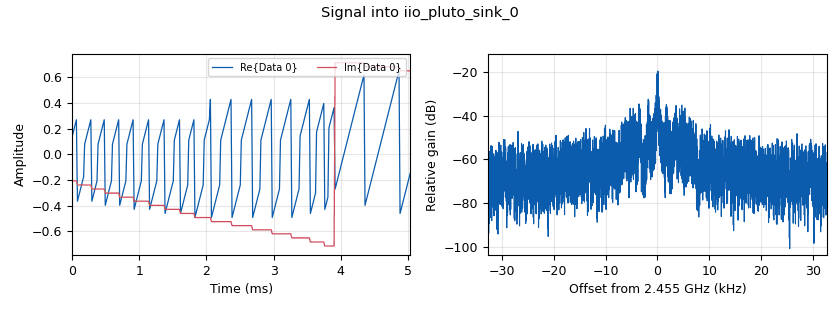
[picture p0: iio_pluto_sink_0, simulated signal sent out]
options:
  parameters:
    author: ivy
    generate_options: qt_gui
    generator_class_name: PythonQtGuiGenerator
    generator_module: gnuradio.grc.workflows.python_qt_gui
    id: untitled
    output_language: python
    title: Not titled yet
  states: {}

blocks:
- name: pi
  id: variable
  parameters:
    value: |
      [(-0.2698412698412699+0.7142857142857143j), (-0.23809523809523814+0.7142857142857143j), (-0.2063492063492064+0.7142857142857143j), (-0.17460317460317465+0.7142857142857143j), (-0.1428571428571429+0.7142857142857143j), (-0.11111111111111116+0.7142857142857143j), (-0.07936507936507942+0.7142857142857143j), (-0.04761904761904767+0.7142857142857143j), (-0.015873015873015928+0.7142857142857143j), (0.015873015873015817+0.7142857142857143j), (0.04761904761904767+0.7142857142857143j), (0.0793650793650793+0.7142857142857143j), (0.11111111111111116+0.7142857142857143j), (0.1428571428571428+0.7142857142857143j), (0.17460317460317465+0.7142857142857143j), (0.20634920634920628+0.7142857142857143j), (0.23809523809523814+0.7142857142857143j), (0.26984126984126977+0.7142857142857143j), (0.3015873015873016+0.7142857142857143j), (0.33333333333333326+0.7142857142857143j), (0.3650793650793651+0.7142857142857143j), (0.39682539682539675+0.7142857142857143j), (0.4285714285714286+0.7142857142857143j), (0.46031746031746024+0.7142857142857143j), (0.4920634920634921+0.7142857142857143j), (0.5238095238095237+0.7142857142857143j), (0.5555555555555556+0.7142857142857143j), (0.5873015873015872+0.7142857142857143j), (0.6190476190476191+0.7142857142857143j), (-0.39682539682539686+0.6825396825396826j), (-0.3650793650793651+0.6825396825396826j), (-0.33333333333333337+0.6825396825396826j), (-0.3015873015873016+0.6825396825396826j), (-0.2698412698412699+0.6825396825396826j), (-0.23809523809523814+0.6825396825396826j), (-0.2063492063492064+0.6825396825396826j), (-0.17460317460317465+0.6825396825396826j), (-0.1428571428571429+0.6825396825396826j), (-0.11111111111111116+0.6825396825396826j), (-0.07936507936507942+0.6825396825396826j), (-0.04761904761904767+0.6825396825396826j), (-0.015873015873015928+0.6825396825396826j), (0.015873015873015817+0.6825396825396826j), (0.04761904761904767+0.6825396825396826j), (0.0793650793650793+0.6825396825396826j), (0.11111111111111116+0.6825396825396826j), (0.1428571428571428+0.6825396825396826j), (0.17460317460317465+0.6825396825396826j), (0.20634920634920628+0.6825396825396826j), (0.23809523809523814+0.6825396825396826j), (0.26984126984126977+0.6825396825396826j), (0.3015873015873016+0.6825396825396826j), (0.33333333333333326+0.6825396825396826j), (0.3650793650793651+0.6825396825396826j), (0.39682539682539675+0.6825396825396826j), (0.4285714285714286+0.6825396825396826j), (0.46031746031746024+0.6825396825396826j), (0.4920634920634921+0.6825396825396826j), (0.5238095238095237+0.6825396825396826j), (0.5555555555555556+0.6825396825396826j), (0.5873015873015872+0.6825396825396826j), (0.6190476190476191+0.6825396825396826j), (0.6507936507936507+0.6825396825396826j), (-0.46031746031746035+0.6507936507936508j), (-0.4285714285714286+0.6507936507936508j), (-0.39682539682539686+0.6507936507936508j), (-0.3650793650793651+0.6507936507936508j), (-0.33333333333333337+0.6507936507936508j), (-0.3015873015873016+0.6507936507936508j), (-0.2698412698412699+0.6507936507936508j), (-0.23809523809523814+0.6507936507936508j), (-0.2063492063492064+0.6507936507936508j), (-0.17460317460317465+0.6507936507936508j), (-0.1428571428571429+0.6507936507936508j), (-0.11111111111111116+0.6507936507936508j), (-0.07936507936507942+0.6507936507936508j), (-0.04761904761904767+0.6507936507936508j), (-0.015873015873015928+0.6507936507936508j), (0.015873015873015817+0.6507936507936508j), (0.04761904761904767+0.6507936507936508j), (0.0793650793650793+0.6507936507936508j), (0.11111111111111116+0.6507936507936508j), (0.1428571428571428+0.6507936507936508j), (0.17460317460317465+0.6507936507936508j), (0.20634920634920628+0.6507936507936508j), (0.23809523809523814+0.6507936507936508j), (0.26984126984126977+0.6507936507936508j), (0.3015873015873016+0.6507936507936508j), (0.33333333333333326+0.6507936507936508j), (0.3650793650793651+0.6507936507936508j), (0.39682539682539675+0.6507936507936508j), (0.4285714285714286+0.6507936507936508j), (0.46031746031746024+0.6507936507936508j), (0.4920634920634921+0.6507936507936508j), (0.5238095238095237+0.6507936507936508j), (0.5555555555555556+0.6507936507936508j), (0.5873015873015872+0.6507936507936508j), (0.6190476190476191+0.6507936507936508j), (0.6507936507936507+0.6507936507936508j), (-0.4920634920634921+0.6190476190476191j), (-0.46031746031746035+0.6190476190476191j), (-0.4285714285714286+0.6190476190476191j), (-0.39682539682539686+0.6190476190476191j), (-0.3650793650793651+0.6190476190476191j), (-0.33333333333333337+0.6190476190476191j), (-0.3015873015873016+0.6190476190476191j), (-0.2698412698412699+0.6190476190476191j), (-0.23809523809523814+0.6190476190476191j), (-0.2063492063492064+0.6190476190476191j), (-0.17460317460317465+0.6190476190476191j), (-0.1428571428571429+0.6190476190476191j), (-0.11111111111111116+0.6190476190476191j), (-0.07936507936507942+0.6190476190476191j), (-0.04761904761904767+0.6190476190476191j), (-0.015873015873015928+0.6190476190476191j), (0.015873015873015817+0.6190476190476191j), (0.04761904761904767+0.6190476190476191j), (0.0793650793650793+0.6190476190476191j), (0.11111111111111116+0.6190476190476191j), (0.1428571428571428+0.6190476190476191j), (0.17460317460317465+0.6190476190476191j), (0.20634920634920628+0.6190476190476191j), (0.23809523809523814+0.6190476190476191j), (0.26984126984126977+0.6190476190476191j), (0.3015873015873016+0.6190476190476191j), (0.33333333333333326+0.6190476190476191j), (0.3650793650793651+0.6190476190476191j), (0.39682539682539675+0.6190476190476191j), (0.4285714285714286+0.6190476190476191j), (0.46031746031746024+0.6190476190476191j), (0.4920634920634921+0.6190476190476191j), (0.5238095238095237+0.6190476190476191j), (0.5555555555555556+0.6190476190476191j), (0.5873015873015872+0.6190476190476191j), (0.6190476190476191+0.6190476190476191j), (0.6507936507936507+0.6190476190476191j), (-0.5555555555555556+0.5873015873015873j), (-0.5238095238095238+0.5873015873015873j), (-0.4920634920634921+0.5873015873015873j), (-0.46031746031746035+0.5873015873015873j), (-0.4285714285714286+0.5873015873015873j), (-0.39682539682539686+0.5873015873015873j), (-0.3650793650793651+0.5873015873015873j), (-0.33333333333333337+0.5873015873015873j), (-0.3015873015873016+0.5873015873015873j), (-0.2698412698412699+0.5873015873015873j), (-0.23809523809523814+0.5873015873015873j), (-0.2063492063492064+0.5873015873015873j), (-0.17460317460317465+0.5873015873015873j), (-0.1428571428571429+0.5873015873015873j), (-0.11111111111111116+0.5873015873015873j), (-0.07936507936507942+0.5873015873015873j), (-0.04761904761904767+0.5873015873015873j), (-0.015873015873015928+0.5873015873015873j), (0.015873015873015817+0.5873015873015873j), (0.04761904761904767+0.5873015873015873j), (0.0793650793650793+0.5873015873015873j), (0.11111111111111116+0.5873015873015873j), (0.1428571428571428+0.5873015873015873j), (0.17460317460317465+0.5873015873015873j), (0.20634920634920628+0.5873015873015873j), (0.23809523809523814+0.5873015873015873j), (0.26984126984126977+0.5873015873015873j), (0.3015873015873016+0.5873015873015873j), (0.33333333333333326+0.5873015873015873j), (0.3650793650793651+0.5873015873015873j), (0.39682539682539675+0.5873015873015873j), (0.4285714285714286+0.5873015873015873j), (0.46031746031746024+0.5873015873015873j), (0.4920634920634921+0.5873015873015873j), (0.5238095238095237+0.5873015873015873j), (0.5555555555555556+0.5873015873015873j), (0.5873015873015872+0.5873015873015873j), (0.6190476190476191+0.5873015873015873j), (-0.5873015873015873+0.5555555555555556j), (-0.5555555555555556+0.5555555555555556j), (-0.5238095238095238+0.5555555555555556j), (-0.4920634920634921+0.5555555555555556j), (-0.46031746031746035+0.5555555555555556j), (-0.4285714285714286+0.5555555555555556j), (-0.39682539682539686+0.5555555555555556j), (-0.3650793650793651+0.5555555555555556j), (-0.33333333333333337+0.5555555555555556j), (-0.3015873015873016+0.5555555555555556j), (-0.2698412698412699+0.5555555555555556j), (-0.23809523809523814+0.5555555555555556j), (-0.2063492063492064+0.5555555555555556j), (-0.17460317460317465+0.5555555555555556j), (-0.1428571428571429+0.5555555555555556j), (-0.11111111111111116+0.5555555555555556j), (-0.07936507936507942+0.5555555555555556j), (-0.04761904761904767+0.5555555555555556j), (-0.015873015873015928+0.5555555555555556j), (0.015873015873015817+0.5555555555555556j), (0.04761904761904767+0.5555555555555556j), (0.0793650793650793+0.5555555555555556j), (0.11111111111111116+0.5555555555555556j), (0.1428571428571428+0.5555555555555556j), (0.17460317460317465+0.5555555555555556j), (0.20634920634920628+0.5555555555555556j), (0.23809523809523814+0.5555555555555556j), (0.26984126984126977+0.5555555555555556j), (0.3015873015873016+0.5555555555555556j), (0.33333333333333326+0.5555555555555556j), (0.3650793650793651+0.5555555555555556j), (0.39682539682539675+0.5555555555555556j), (0.4285714285714286+0.5555555555555556j), (0.46031746031746024+0.5555555555555556j), (0.4920634920634921+0.5555555555555556j), (0.5238095238095237+0.5555555555555556j), (0.5555555555555556+0.5555555555555556j), (0.5873015873015872+0.5555555555555556j), (0.6190476190476191+0.5555555555555556j), (-0.5873015873015873+0.5238095238095238j), (-0.5555555555555556+0.5238095238095238j), (-0.5238095238095238+0.5238095238095238j), (-0.4920634920634921+0.5238095238095238j), (-0.46031746031746035+0.5238095238095238j), (-0.4285714285714286+0.5238095238095238j), (-0.39682539682539686+0.5238095238095238j), (-0.3650793650793651+0.5238095238095238j), (-0.33333333333333337+0.5238095238095238j), (-0.3015873015873016+0.5238095238095238j), (-0.2698412698412699+0.5238095238095238j), (-0.23809523809523814+0.5238095238095238j), (-0.2063492063492064+0.5238095238095238j), (-0.17460317460317465+0.5238095238095238j), (-0.1428571428571429+0.5238095238095238j), (-0.11111111111111116+0.5238095238095238j), (-0.07936507936507942+0.5238095238095238j), (-0.04761904761904767+0.5238095238095238j), (-0.015873015873015928+0.5238095238095238j), (0.015873015873015817+0.5238095238095238j), (0.04761904761904767+0.5238095238095238j), (0.0793650793650793+0.5238095238095238j), (0.11111111111111116+0.5238095238095238j), (0.1428571428571428+0.5238095238095238j), (0.17460317460317465+0.5238095238095238j), (0.20634920634920628+0.5238095238095238j), (0.23809523809523814+0.5238095238095238j), (0.26984126984126977+0.5238095238095238j), (0.3015873015873016+0.5238095238095238j), (0.33333333333333326+0.5238095238095238j), (0.3650793650793651+0.5238095238095238j), (0.39682539682539675+0.5238095238095238j), (0.4285714285714286+0.5238095238095238j), (0.46031746031746024+0.5238095238095238j), (0.4920634920634921+0.5238095238095238j), (0.5238095238095237+0.5238095238095238j), (0.5555555555555556+0.5238095238095238j), (-0.6190476190476191+0.4920634920634921j), (-0.5873015873015873+0.4920634920634921j), (-0.5555555555555556+0.4920634920634921j), (-0.5238095238095238+0.4920634920634921j), (-0.4920634920634921+0.4920634920634921j), (-0.46031746031746035+0.4920634920634921j), (-0.4285714285714286+0.4920634920634921j), (-0.23809523809523814+0.4920634920634921j), (-0.2063492063492064+0.4920634920634921j), (-0.17460317460317465+0.4920634920634921j), (-0.1428571428571429+0.4920634920634921j), (-0.11111111111111116+0.4920634920634921j), (0.1428571428571428+0.4920634920634921j), (0.17460317460317465+0.4920634920634921j), (0.20634920634920628+0.4920634920634921j), (0.23809523809523814+0.4920634920634921j), (0.26984126984126977+0.4920634920634921j), (0.3015873015873016+0.4920634920634921j), (-0.6190476190476191+0.46031746031746035j), (-0.5873015873015873+0.46031746031746035j), (-0.5555555555555556+0.46031746031746035j), (-0.5238095238095238+0.46031746031746035j), (-0.4920634920634921+0.46031746031746035j), (-0.23809523809523814+0.46031746031746035j), (-0.2063492063492064+0.46031746031746035j), (-0.17460317460317465+0.46031746031746035j), (-0.1428571428571429+0.46031746031746035j), (0.1428571428571428+0.46031746031746035j), (0.17460317460317465+0.46031746031746035j), (0.20634920634920628+0.46031746031746035j), (0.23809523809523814+0.46031746031746035j), (0.26984126984126977+0.46031746031746035j), (0.3015873015873016+0.46031746031746035j), (-0.6507936507936508+0.4285714285714286j), (-0.6190476190476191+0.4285714285714286j), (-0.5873015873015873+0.4285714285714286j), (-0.5555555555555556+0.4285714285714286j), (-0.23809523809523814+0.4285714285714286j), (-0.2063492063492064+0.4285714285714286j), (-0.17460317460317465+0.4285714285714286j), (-0.1428571428571429+0.4285714285714286j), (0.1428571428571428+0.4285714285714286j), (0.17460317460317465+0.4285714285714286j), (0.20634920634920628+0.4285714285714286j), (0.23809523809523814+0.4285714285714286j), (0.26984126984126977+0.4285714285714286j), (0.3015873015873016+0.4285714285714286j), (-0.6507936507936508+0.39682539682539686j), (-0.6190476190476191+0.39682539682539686j), (-0.5873015873015873+0.39682539682539686j), (-0.23809523809523814+0.39682539682539686j), (-0.2063492063492064+0.39682539682539686j), (-0.17460317460317465+0.39682539682539686j), (-0.1428571428571429+0.39682539682539686j), (0.1428571428571428+0.39682539682539686j), (0.17460317460317465+0.39682539682539686j), (0.20634920634920628+0.39682539682539686j), (0.23809523809523814+0.39682539682539686j), (0.26984126984126977+0.39682539682539686j), (0.3015873015873016+0.39682539682539686j), (-0.6507936507936508+0.3650793650793651j), (-0.6190476190476191+0.3650793650793651j), (-0.5873015873015873+0.3650793650793651j), (-0.23809523809523814+0.3650793650793651j), (-0.2063492063492064+0.3650793650793651j), (-0.17460317460317465+0.3650793650793651j), (-0.1428571428571429+0.3650793650793651j), (0.1428571428571428+0.3650793650793651j), (0.17460317460317465+0.3650793650793651j), (0.20634920634920628+0.3650793650793651j), (0.23809523809523814+0.3650793650793651j), (0.26984126984126977+0.3650793650793651j), (0.3015873015873016+0.3650793650793651j), (-0.6190476190476191+0.33333333333333337j), (-0.23809523809523814+0.33333333333333337j), (-0.2063492063492064+0.33333333333333337j), (-0.17460317460317465+0.33333333333333337j), (-0.1428571428571429+0.33333333333333337j), (0.1428571428571428+0.33333333333333337j), (0.17460317460317465+0.33333333333333337j), (0.20634920634920628+0.33333333333333337j), (0.23809523809523814+0.33333333333333337j), (0.26984126984126977+0.33333333333333337j), (0.3015873015873016+0.33333333333333337j), (-0.6190476190476191+0.3015873015873016j), (-0.23809523809523814+0.3015873015873016j), (-0.2063492063492064+0.3015873015873016j), (-0.17460317460317465+0.3015873015873016j), (-0.1428571428571429+0.3015873015873016j), (0.1428571428571428+0.3015873015873016j), (0.17460317460317465+0.3015873015873016j), (0.20634920634920628+0.3015873015873016j), (0.23809523809523814+0.3015873015873016j), (0.26984126984126977+0.3015873015873016j), (0.3015873015873016+0.3015873015873016j), (-0.23809523809523814+0.2698412698412699j), (-0.2063492063492064+0.2698412698412699j), (-0.17460317460317465+0.2698412698412699j), (-0.1428571428571429+0.2698412698412699j), (0.1428571428571428+0.2698412698412699j), (0.17460317460317465+0.2698412698412699j), (0.20634920634920628+0.2698412698412699j), (0.23809523809523814+0.2698412698412699j), (0.26984126984126977+0.2698412698412699j), (-0.23809523809523814+0.23809523809523814j), (-0.2063492063492064+0.23809523809523814j), (-0.17460317460317465+0.23809523809523814j), (-0.1428571428571429+0.23809523809523814j), (0.1428571428571428+0.23809523809523814j), (0.17460317460317465+0.23809523809523814j), (0.20634920634920628+0.23809523809523814j), (0.23809523809523814+0.23809523809523814j), (0.26984126984126977+0.23809523809523814j), (-0.23809523809523814+0.2063492063492064j), (-0.2063492063492064+0.2063492063492064j), (-0.17460317460317465+0.2063492063492064j), (-0.1428571428571429+0.2063492063492064j), (0.11111111111111116+0.2063492063492064j), (0.1428571428571428+0.2063492063492064j), (0.17460317460317465+0.2063492063492064j), (0.20634920634920628+0.2063492063492064j), (0.23809523809523814+0.2063492063492064j), (0.26984126984126977+0.2063492063492064j), (-0.23809523809523814+0.17460317460317465j), (-0.2063492063492064+0.17460317460317465j), (-0.17460317460317465+0.17460317460317465j), (-0.1428571428571429+0.17460317460317465j), (0.11111111111111116+0.17460317460317465j), (0.1428571428571428+0.17460317460317465j), (0.17460317460317465+0.17460317460317465j), (0.20634920634920628+0.17460317460317465j), (0.23809523809523814+0.17460317460317465j), (0.26984126984126977+0.17460317460317465j), (-0.2698412698412699+0.1428571428571429j), (-0.23809523809523814+0.1428571428571429j), (-0.2063492063492064+0.1428571428571429j), (-0.17460317460317465+0.1428571428571429j), (-0.1428571428571429+0.1428571428571429j), (0.11111111111111116+0.1428571428571429j), (0.1428571428571428+0.1428571428571429j), (0.17460317460317465+0.1428571428571429j), (0.20634920634920628+0.1428571428571429j), (0.23809523809523814+0.1428571428571429j), (0.26984126984126977+0.1428571428571429j), (-0.2698412698412699+0.11111111111111116j), (-0.23809523809523814+0.11111111111111116j), (-0.2063492063492064+0.11111111111111116j), (-0.17460317460317465+0.11111111111111116j), (-0.1428571428571429+0.11111111111111116j), (0.11111111111111116+0.11111111111111116j), (0.1428571428571428+0.11111111111111116j), (0.17460317460317465+0.11111111111111116j), (0.20634920634920628+0.11111111111111116j), (0.23809523809523814+0.11111111111111116j), (0.26984126984126977+0.11111111111111116j), (-0.2698412698412699+0.07936507936507942j), (-0.23809523809523814+0.07936507936507942j), (-0.2063492063492064+0.07936507936507942j), (-0.17460317460317465+0.07936507936507942j), (-0.1428571428571429+0.07936507936507942j), (0.11111111111111116+0.07936507936507942j), (0.1428571428571428+0.07936507936507942j), (0.17460317460317465+0.07936507936507942j), (0.20634920634920628+0.07936507936507942j), (0.23809523809523814+0.07936507936507942j), (0.26984126984126977+0.07936507936507942j), (-0.2698412698412699+0.04761904761904767j), (-0.23809523809523814+0.04761904761904767j), (-0.2063492063492064+0.04761904761904767j), (-0.17460317460317465+0.04761904761904767j), (0.11111111111111116+0.04761904761904767j), (0.1428571428571428+0.04761904761904767j), (0.17460317460317465+0.04761904761904767j), (0.20634920634920628+0.04761904761904767j), (0.23809523809523814+0.04761904761904767j), (0.26984126984126977+0.04761904761904767j), (-0.2698412698412699+0.015873015873015928j), (-0.23809523809523814+0.015873015873015928j), (-0.2063492063492064+0.015873015873015928j), (-0.17460317460317465+0.015873015873015928j), (0.11111111111111116+0.015873015873015928j), (0.1428571428571428+0.015873015873015928j), (0.17460317460317465+0.015873015873015928j), (0.20634920634920628+0.015873015873015928j), (0.23809523809523814+0.015873015873015928j), (0.26984126984126977+0.015873015873015928j), (-0.3015873015873016-0.015873015873015817j), (-0.2698412698412699-0.015873015873015817j), (-0.23809523809523814-0.015873015873015817j), (-0.2063492063492064-0.015873015873015817j), (-0.17460317460317465-0.015873015873015817j), (0.11111111111111116-0.015873015873015817j), (0.1428571428571428-0.015873015873015817j), (0.17460317460317465-0.015873015873015817j), (0.20634920634920628-0.015873015873015817j), (0.23809523809523814-0.015873015873015817j), (0.26984126984126977-0.015873015873015817j), (-0.3015873015873016-0.04761904761904767j), (-0.2698412698412699-0.04761904761904767j), (-0.23809523809523814-0.04761904761904767j), (-0.2063492063492064-0.04761904761904767j), (-0.17460317460317465-0.04761904761904767j), (0.11111111111111116-0.04761904761904767j), (0.1428571428571428-0.04761904761904767j), (0.17460317460317465-0.04761904761904767j), (0.20634920634920628-0.04761904761904767j), (0.23809523809523814-0.04761904761904767j), (0.26984126984126977-0.04761904761904767j), (-0.3015873015873016-0.0793650793650793j), (-0.2698412698412699-0.0793650793650793j), (-0.23809523809523814-0.0793650793650793j), (-0.2063492063492064-0.0793650793650793j), (-0.17460317460317465-0.0793650793650793j), (0.11111111111111116-0.0793650793650793j), (0.1428571428571428-0.0793650793650793j), (0.17460317460317465-0.0793650793650793j), (0.20634920634920628-0.0793650793650793j), (0.23809523809523814-0.0793650793650793j), (0.26984126984126977-0.0793650793650793j), (-0.3015873015873016-0.11111111111111116j), (-0.2698412698412699-0.11111111111111116j), (-0.23809523809523814-0.11111111111111116j), (-0.2063492063492064-0.11111111111111116j), (-0.17460317460317465-0.11111111111111116j), (0.11111111111111116-0.11111111111111116j), (0.1428571428571428-0.11111111111111116j), (0.17460317460317465-0.11111111111111116j), (0.20634920634920628-0.11111111111111116j), (0.23809523809523814-0.11111111111111116j), (0.26984126984126977-0.11111111111111116j), (-0.33333333333333337-0.1428571428571428j), (-0.3015873015873016-0.1428571428571428j), (-0.2698412698412699-0.1428571428571428j), (-0.23809523809523814-0.1428571428571428j), (-0.2063492063492064-0.1428571428571428j), (-0.17460317460317465-0.1428571428571428j), (0.11111111111111116-0.1428571428571428j), (0.1428571428571428-0.1428571428571428j), (0.17460317460317465-0.1428571428571428j), (0.20634920634920628-0.1428571428571428j), (0.23809523809523814-0.1428571428571428j), (0.26984126984126977-0.1428571428571428j), (-0.33333333333333337-0.17460317460317465j), (-0.3015873015873016-0.17460317460317465j), (-0.2698412698412699-0.17460317460317465j), (-0.23809523809523814-0.17460317460317465j), (-0.2063492063492064-0.17460317460317465j), (-0.17460317460317465-0.17460317460317465j), (0.11111111111111116-0.17460317460317465j), (0.1428571428571428-0.17460317460317465j), (0.17460317460317465-0.17460317460317465j), (0.20634920634920628-0.17460317460317465j), (0.23809523809523814-0.17460317460317465j), (0.26984126984126977-0.17460317460317465j), (-0.33333333333333337-0.20634920634920628j), (-0.3015873015873016-0.20634920634920628j), (-0.2698412698412699-0.20634920634920628j), (-0.23809523809523814-0.20634920634920628j), (-0.2063492063492064-0.20634920634920628j), (-0.17460317460317465-0.20634920634920628j), (0.11111111111111116-0.20634920634920628j), (0.1428571428571428-0.20634920634920628j), (0.17460317460317465-0.20634920634920628j), (0.20634920634920628-0.20634920634920628j), (0.23809523809523814-0.20634920634920628j), (0.26984126984126977-0.20634920634920628j), (-0.3650793650793651-0.23809523809523814j), (-0.33333333333333337-0.23809523809523814j), (-0.3015873015873016-0.23809523809523814j), (-0.2698412698412699-0.23809523809523814j), (-0.23809523809523814-0.23809523809523814j), (-0.2063492063492064-0.23809523809523814j), (-0.17460317460317465-0.23809523809523814j), (0.0793650793650793-0.23809523809523814j), (0.11111111111111116-0.23809523809523814j), (0.1428571428571428-0.23809523809523814j), (0.17460317460317465-0.23809523809523814j), (0.20634920634920628-0.23809523809523814j), (0.23809523809523814-0.23809523809523814j), (0.26984126984126977-0.23809523809523814j), (-0.3650793650793651-0.26984126984126977j), (-0.33333333333333337-0.26984126984126977j), (-0.3015873015873016-0.26984126984126977j), (-0.2698412698412699-0.26984126984126977j), (-0.23809523809523814-0.26984126984126977j), (-0.2063492063492064-0.26984126984126977j), (0.0793650793650793-0.26984126984126977j), (0.11111111111111116-0.26984126984126977j), (0.1428571428571428-0.26984126984126977j), (0.17460317460317465-0.26984126984126977j), (0.20634920634920628-0.26984126984126977j), (0.23809523809523814-0.26984126984126977j), (0.26984126984126977-0.26984126984126977j), (-0.39682539682539686-0.3015873015873016j), (-0.3650793650793651-0.3015873015873016j), (-0.33333333333333337-0.3015873015873016j), (-0.3015873015873016-0.3015873015873016j), (-0.2698412698412699-0.3015873015873016j), (-0.23809523809523814-0.3015873015873016j), (-0.2063492063492064-0.3015873015873016j), (0.0793650793650793-0.3015873015873016j), (0.11111111111111116-0.3015873015873016j), (0.1428571428571428-0.3015873015873016j), (0.17460317460317465-0.3015873015873016j), (0.20634920634920628-0.3015873015873016j), (0.23809523809523814-0.3015873015873016j), (0.26984126984126977-0.3015873015873016j), (-0.39682539682539686-0.33333333333333326j), (-0.3650793650793651-0.33333333333333326j), (-0.33333333333333337-0.33333333333333326j), (-0.3015873015873016-0.33333333333333326j), (-0.2698412698412699-0.33333333333333326j), (-0.23809523809523814-0.33333333333333326j), (-0.2063492063492064-0.33333333333333326j), (0.0793650793650793-0.33333333333333326j), (0.11111111111111116-0.33333333333333326j), (0.1428571428571428-0.33333333333333326j), (0.17460317460317465-0.33333333333333326j), (0.20634920634920628-0.33333333333333326j), (0.23809523809523814-0.33333333333333326j), (0.26984126984126977-0.33333333333333326j), (-0.4285714285714286-0.3650793650793651j), (-0.39682539682539686-0.3650793650793651j), (-0.3650793650793651-0.3650793650793651j), (-0.33333333333333337-0.3650793650793651j), (-0.3015873015873016-0.3650793650793651j), (-0.2698412698412699-0.3650793650793651j), (-0.23809523809523814-0.3650793650793651j), (-0.2063492063492064-0.3650793650793651j), (0.0793650793650793-0.3650793650793651j), (0.11111111111111116-0.3650793650793651j), (0.1428571428571428-0.3650793650793651j), (0.17460317460317465-0.3650793650793651j), (0.20634920634920628-0.3650793650793651j), (0.23809523809523814-0.3650793650793651j), (0.26984126984126977-0.3650793650793651j), (-0.4285714285714286-0.39682539682539675j), (-0.39682539682539686-0.39682539682539675j), (-0.3650793650793651-0.39682539682539675j), (-0.33333333333333337-0.39682539682539675j), (-0.3015873015873016-0.39682539682539675j), (-0.2698412698412699-0.39682539682539675j), (-0.23809523809523814-0.39682539682539675j), (-0.2063492063492064-0.39682539682539675j), (0.0793650793650793-0.39682539682539675j), (0.11111111111111116-0.39682539682539675j), (0.1428571428571428-0.39682539682539675j), (0.17460317460317465-0.39682539682539675j), (0.20634920634920628-0.39682539682539675j), (0.23809523809523814-0.39682539682539675j), (0.26984126984126977-0.39682539682539675j), (-0.46031746031746035-0.4285714285714286j), (-0.4285714285714286-0.4285714285714286j), (-0.39682539682539686-0.4285714285714286j), (-0.3650793650793651-0.4285714285714286j), (-0.33333333333333337-0.4285714285714286j), (-0.3015873015873016-0.4285714285714286j), (-0.2698412698412699-0.4285714285714286j), (-0.23809523809523814-0.4285714285714286j), (-0.2063492063492064-0.4285714285714286j), (0.11111111111111116-0.4285714285714286j), (0.1428571428571428-0.4285714285714286j), (0.17460317460317465-0.4285714285714286j), (0.20634920634920628-0.4285714285714286j), (0.23809523809523814-0.4285714285714286j), (0.26984126984126977-0.4285714285714286j), (-0.46031746031746035-0.46031746031746024j), (-0.4285714285714286-0.46031746031746024j), (-0.39682539682539686-0.46031746031746024j), (-0.3650793650793651-0.46031746031746024j), (-0.33333333333333337-0.46031746031746024j), (-0.3015873015873016-0.46031746031746024j), (-0.2698412698412699-0.46031746031746024j), (-0.23809523809523814-0.46031746031746024j), (0.11111111111111116-0.46031746031746024j), (0.1428571428571428-0.46031746031746024j), (0.17460317460317465-0.46031746031746024j), (0.20634920634920628-0.46031746031746024j), (0.23809523809523814-0.46031746031746024j), (0.26984126984126977-0.46031746031746024j), (-0.4920634920634921-0.4920634920634921j), (-0.46031746031746035-0.4920634920634921j), (-0.4285714285714286-0.4920634920634921j), (-0.39682539682539686-0.4920634920634921j), (-0.3650793650793651-0.4920634920634921j), (-0.33333333333333337-0.4920634920634921j), (-0.3015873015873016-0.4920634920634921j), (-0.2698412698412699-0.4920634920634921j), (-0.23809523809523814-0.4920634920634921j), (0.11111111111111116-0.4920634920634921j), (0.1428571428571428-0.4920634920634921j), (0.17460317460317465-0.4920634920634921j), (0.20634920634920628-0.4920634920634921j), (0.23809523809523814-0.4920634920634921j), (0.26984126984126977-0.4920634920634921j), (0.4285714285714286-0.4920634920634921j), (-0.4920634920634921-0.5238095238095237j), (-0.46031746031746035-0.5238095238095237j), (-0.4285714285714286-0.5238095238095237j), (-0.39682539682539686-0.5238095238095237j), (-0.3650793650793651-0.5238095238095237j), (-0.33333333333333337-0.5238095238095237j), (-0.3015873015873016-0.5238095238095237j), (-0.2698412698412699-0.5238095238095237j), (-0.23809523809523814-0.5238095238095237j), (0.11111111111111116-0.5238095238095237j), (0.1428571428571428-0.5238095238095237j), (0.17460317460317465-0.5238095238095237j), (0.20634920634920628-0.5238095238095237j), (0.23809523809523814-0.5238095238095237j), (0.26984126984126977-0.5238095238095237j), (0.3015873015873016-0.5238095238095237j), (0.33333333333333326-0.5238095238095237j), (0.3650793650793651-0.5238095238095237j), (0.39682539682539675-0.5238095238095237j), (0.4285714285714286-0.5238095238095237j), (-0.4920634920634921-0.5555555555555556j), (-0.46031746031746035-0.5555555555555556j), (-0.4285714285714286-0.5555555555555556j), (-0.39682539682539686-0.5555555555555556j), (-0.3650793650793651-0.5555555555555556j), (-0.33333333333333337-0.5555555555555556j), (-0.3015873015873016-0.5555555555555556j), (-0.2698412698412699-0.5555555555555556j), (-0.23809523809523814-0.5555555555555556j), (0.11111111111111116-0.5555555555555556j), (0.1428571428571428-0.5555555555555556j), (0.17460317460317465-0.5555555555555556j), (0.20634920634920628-0.5555555555555556j), (0.23809523809523814-0.5555555555555556j), (0.26984126984126977-0.5555555555555556j), (0.3015873015873016-0.5555555555555556j), (0.33333333333333326-0.5555555555555556j), (0.3650793650793651-0.5555555555555556j), (0.39682539682539675-0.5555555555555556j), (0.4285714285714286-0.5555555555555556j), (-0.4920634920634921-0.5873015873015872j), (-0.46031746031746035-0.5873015873015872j), (-0.4285714285714286-0.5873015873015872j), (-0.39682539682539686-0.5873015873015872j), (-0.3650793650793651-0.5873015873015872j), (-0.33333333333333337-0.5873015873015872j), (-0.3015873015873016-0.5873015873015872j), (-0.2698412698412699-0.5873015873015872j), (0.11111111111111116-0.5873015873015872j), (0.1428571428571428-0.5873015873015872j), (0.17460317460317465-0.5873015873015872j), (0.20634920634920628-0.5873015873015872j), (0.23809523809523814-0.5873015873015872j), (0.26984126984126977-0.5873015873015872j), (0.3015873015873016-0.5873015873015872j), (0.33333333333333326-0.5873015873015872j), (0.3650793650793651-0.5873015873015872j), (0.39682539682539675-0.5873015873015872j), (0.4285714285714286-0.5873015873015872j), (-0.4920634920634921-0.6190476190476191j), (-0.46031746031746035-0.6190476190476191j), (-0.4285714285714286-0.6190476190476191j), (-0.39682539682539686-0.6190476190476191j), (-0.3650793650793651-0.6190476190476191j), (-0.33333333333333337-0.6190476190476191j), (-0.3015873015873016-0.6190476190476191j), (-0.2698412698412699-0.6190476190476191j), (0.11111111111111116-0.6190476190476191j), (0.1428571428571428-0.6190476190476191j), (0.17460317460317465-0.6190476190476191j), (0.20634920634920628-0.6190476190476191j), (0.23809523809523814-0.6190476190476191j), (0.26984126984126977-0.6190476190476191j), (0.3015873015873016-0.6190476190476191j), (0.33333333333333326-0.6190476190476191j), (0.3650793650793651-0.6190476190476191j), (0.39682539682539675-0.6190476190476191j), (0.4285714285714286-0.6190476190476191j), (-0.4920634920634921-0.6507936507936507j), (-0.46031746031746035-0.6507936507936507j), (-0.4285714285714286-0.6507936507936507j), (-0.39682539682539686-0.6507936507936507j), (-0.3650793650793651-0.6507936507936507j), (-0.33333333333333337-0.6507936507936507j), (-0.3015873015873016-0.6507936507936507j), (-0.2698412698412699-0.6507936507936507j), (0.1428571428571428-0.6507936507936507j), (0.17460317460317465-0.6507936507936507j), (0.20634920634920628-0.6507936507936507j), (0.23809523809523814-0.6507936507936507j), (0.26984126984126977-0.6507936507936507j), (0.3015873015873016-0.6507936507936507j), (0.33333333333333326-0.6507936507936507j), (0.3650793650793651-0.6507936507936507j), (0.39682539682539675-0.6507936507936507j), (0.4285714285714286-0.6507936507936507j), (-0.46031746031746035-0.6825396825396826j), (-0.4285714285714286-0.6825396825396826j), (-0.39682539682539686-0.6825396825396826j), (-0.3650793650793651-0.6825396825396826j), (-0.33333333333333337-0.6825396825396826j), (-0.3015873015873016-0.6825396825396826j), (0.17460317460317465-0.6825396825396826j), (0.20634920634920628-0.6825396825396826j), (0.23809523809523814-0.6825396825396826j), (0.26984126984126977-0.6825396825396826j), (0.3015873015873016-0.6825396825396826j), (0.33333333333333326-0.6825396825396826j), (0.3650793650793651-0.6825396825396826j), (0.39682539682539675-0.6825396825396826j), (-0.4285714285714286-0.7142857142857142j), (-0.39682539682539686-0.7142857142857142j), (-0.3650793650793651-0.7142857142857142j), (-0.33333333333333337-0.7142857142857142j), (0.20634920634920628-0.7142857142857142j), (0.23809523809523814-0.7142857142857142j), (0.26984126984126977-0.7142857142857142j), (0.3015873015873016-0.7142857142857142j), (0.33333333333333326-0.7142857142857142j), (0.3650793650793651-0.7142857142857142j)]
  states: {}
- name: rx
  id: variable_qtgui_range
  parameters:
    start: '0'
    step: '1'
    stop: '20'
    value: '0'
  states: {}
- name: samp_rate
  id: variable
  parameters:
    value: '65105'
  states: {}
- name: tx
  id: variable_qtgui_range
  parameters:
    start: '0'
    step: '1'
    stop: '20'
    value: '0'
  states: {}
- name: blocks_vector_source_x_1
  id: blocks_vector_source_x
  parameters:
    repeat: 'True'
    type: complex
    vector: pi
  states: {}
- name: iio_pluto_sink_0
  id: iio_pluto_sink
  parameters:
    attenuation1: tx
    bandwidth: '200000'
    buffer_size: '32768'
    cyclic: 'False'
    filter_source: '''Auto'''
    frequency: '2455000000'
    samplerate: samp_rate
    type: fc32
  states: {}
- name: iio_pluto_source_0
  id: iio_pluto_source
  parameters:
    bandwidth: '200000'
    bbdc: 'True'
    buffer_size: '32768'
    filter_source: '''Auto'''
    frequency: '2455000000'
    gain1: '''manual'''
    manual_gain1: rx
    quadrature: 'True'
    rfdc: 'True'
    samplerate: samp_rate
    type: fc32
  states: {}
- name: qtgui_const_sink_x_0_0_0
  id: qtgui_const_sink_x
  parameters:
    size: '1024'
    type: complex
  states: {}
- name: qtgui_freq_sink_x_0_0
  id: qtgui_freq_sink_x
  parameters:
    bw: 20e6
    fc: '0'
    fftsize: '1024'
    type: complex
  states: {}

connections:
- [blocks_vector_source_x_1, '0', iio_pluto_sink_0, '0']
- [iio_pluto_source_0, '0', qtgui_const_sink_x_0_0_0, '0']
- [iio_pluto_source_0, '0', qtgui_freq_sink_x_0_0, '0']

metadata:
  file_format: 1
  grc_version: 3.10.12.0
